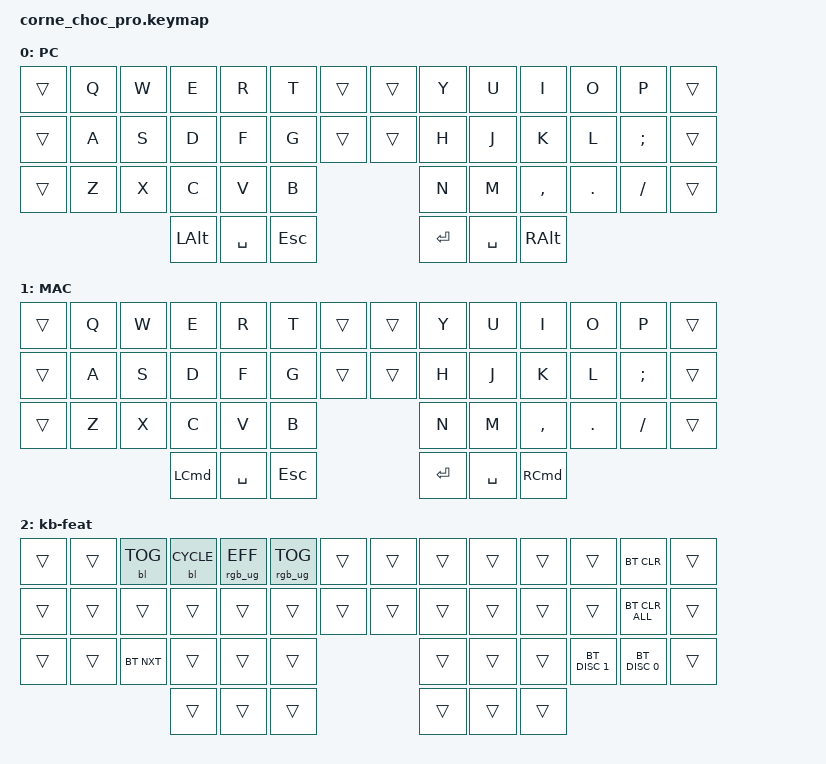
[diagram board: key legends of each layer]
/*
 * Copyright (c) 2020 The ZMK Contributors
 *
 * SPDX-License-Identifier: MIT
 */

#include <behaviors.dtsi>
#include <dt-bindings/zmk/backlight.h>
#include <dt-bindings/zmk/bt.h>
#include <dt-bindings/zmk/keys.h>
#include <dt-bindings/zmk/rgb.h>

/ {
    chosen { zmk,physical-layout = &default_layout; };
};

/ {
    combos {
        compatible = "zmk,combos";

        default {
            bindings = <&to 0>;
            key-positions = <12 38 22>;
        };

        mac {
            bindings = <&to 1>;
            key-positions = <8 34 26>;
        };

        kbfeat {
            bindings = <&to 2>;
            key-positions = <1 29 19>;
        };
    };

    keymap {
        compatible = "zmk,keymap";

        default_layer {
            display-name = "PC";

            // --------------------------------------------------------------------------------
            // |  TAB |  Q  |  W  |  E  |  R  |  T  |  MUTE |  PP   |  Y  |  U   |  I  |  O  |  P  | BSPC |
            // | CTRL |  A  |  S  |  D  |  F  |  G  |  LALT |  RALT |  H  |  J   |  K  |  L  |  ;  |  '   |
            // | SHFT |  Z  |  X  |  C  |  V  |  B  |               |  N  |  M   |  ,  |  .  |  /  | ESC  |
            //                    | GUI | LWR | SPC |               | ENT | RSE  | ALT |

            bindings = <
&trans  &kp Q  &kp W  &kp E     &kp R      &kp T       &trans  &trans  &kp Y      &kp U      &kp I      &kp O    &kp P     &trans
&trans  &kp A  &kp S  &kp D     &kp F      &kp G       &trans  &trans  &kp H      &kp J      &kp K      &kp L    &kp SEMI  &trans
&trans  &kp Z  &kp X  &kp C     &kp V      &kp B                       &kp N      &kp M      &kp COMMA  &kp DOT  &kp FSLH  &trans
                      &kp LALT  &kp SPACE  &kp ESCAPE                  &kp ENTER  &kp SPACE  &kp RALT
            >;
        };

        layer_mac {
            display-name = "MAC";
            bindings = <
&trans  &kp Q  &kp W  &kp E     &kp R      &kp T       &trans  &trans  &kp Y      &kp U      &kp I      &kp O    &kp P     &trans
&trans  &kp A  &kp S  &kp D     &kp F      &kp G       &trans  &trans  &kp H      &kp J      &kp K      &kp L    &kp SEMI  &trans
&trans  &kp Z  &kp X  &kp C     &kp V      &kp B                       &kp N      &kp M      &kp COMMA  &kp DOT  &kp FSLH  &trans
                      &kp LCMD  &kp SPACE  &kp ESCAPE                  &kp ENTER  &kp SPACE  &kp RCMD
            >;
        };

        kb-feat {
            bindings = <
&trans  &trans  &bl BL_TOG  &bl BL_CYCLE  &rgb_ug RGB_EFF  &rgb_ug RGB_TOG  &trans  &trans  &trans  &trans  &trans  &trans         &bt BT_CLR      &trans
&trans  &trans  &trans      &trans        &trans           &trans           &trans  &trans  &trans  &trans  &trans  &trans         &bt BT_CLR_ALL  &trans
&trans  &trans  &bt BT_NXT  &trans        &trans           &trans                           &trans  &trans  &trans  &bt BT_DISC 1  &bt BT_DISC 0   &trans
                            &trans        &trans           &trans                           &trans  &trans  &trans
            >;
        };
    };
};
